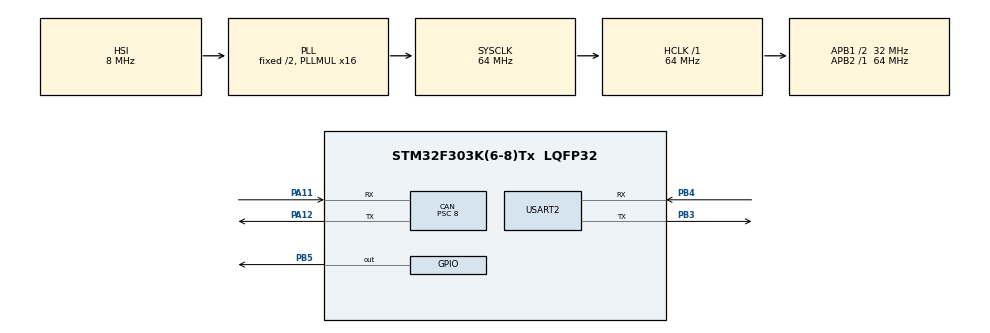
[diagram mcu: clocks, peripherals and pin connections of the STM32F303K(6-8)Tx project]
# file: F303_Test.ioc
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CAN.BS1=CAN_BS1_2TQ
CAN.CalculateBaudRate=1000000
CAN.CalculateTimeBit=1000
CAN.CalculateTimeQuantum=250.0
CAN.Prescaler=8
CAN.SJW=CAN_SJW_1TQ
Mcu.Family=STM32F3
Mcu.Name=STM32F303K(6-8)Tx
Mcu.Package=LQFP32
NVIC.CAN_RX0_IRQn=true\:0\:0\:false\:false\:true\:true\:true
NVIC.PriorityGroup=NVIC_PRIORITYGROUP_4
PA11.Mode=CAN_Activate
PA11.Signal=CAN_RX
PA12.Mode=CAN_Activate
PA12.Signal=CAN_TX
PB3.Mode=Asynchronous
PB3.Signal=USART2_TX
PB4.Mode=Asynchronous
PB4.Signal=USART2_RX
PB5.Signal=GPIO_Output
ProjectManager.HeapSize=0x200
ProjectManager.StackSize=0x400
ProjectManager.TargetToolchain=STM32CubeIDE
RCC.AHBFreq_Value=64000000
RCC.APB1CLKDivider=RCC_HCLK_DIV2
RCC.APB1Freq_Value=32000000
RCC.APB1TimFreq_Value=64000000
RCC.APB2Freq_Value=64000000
RCC.APB2TimFreq_Value=64000000
RCC.CortexFreq_Value=64000000
RCC.HCLKFreq_Value=64000000
RCC.HSE_VALUE=8000000
RCC.HSI_VALUE=8000000
RCC.PLLMUL=RCC_PLL_MUL16
RCC.SYSCLKFreq_VALUE=64000000
RCC.SYSCLKSourceVirtual=RCC_SYSCLKSOURCE_PLLCLK
USART2.VirtualMode-Asynchronous=VM_ASYNC
board=custom

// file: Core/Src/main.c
/* USER CODE BEGIN Header */
/**
  ******************************************************************************
  * @file           : main.c
  * @brief          : Main program body
  ******************************************************************************
  * @attention
  *
  * Copyright (c) 2022 STMicroelectronics.
  * All rights reserved.
  *
  * This software is licensed under terms that can be found in the LICENSE file
  * in the root directory of this software component.
  * If no LICENSE file comes with this software, it is provided AS-IS.
  *
  ******************************************************************************
  */
/* USER CODE END Header */
#include "main.h"

CAN_HandleTypeDef hcan;

UART_HandleTypeDef huart2;

void SystemClock_Config(void);
static void MX_GPIO_Init(void);
static void MX_CAN_Init(void);
static void MX_USART2_UART_Init(void);

int main(void)
{

  /* MCU Configuration--------------------------------------------------------*/

  /* Reset of all peripherals, Initializes the Flash interface and the Systick. */
  HAL_Init();

  /* Configure the system clock */
  SystemClock_Config();

  /* Initialize all configured peripherals */
  MX_GPIO_Init();
  MX_CAN_Init();
  MX_USART2_UART_Init();
  /* USER CODE BEGIN 2 */
  HAL_CAN_Start(&hcan);
  const unsigned char txbuf1[] = "Hello World!\r\n";

  uint32_t id;
  uint32_t dlc;
  uint8_t data[8];

  CAN_FilterTypeDef filter;
  filter.FilterIdHigh         = 0;                        // フィルターID(上位16ビット)
  filter.FilterIdLow          = 0;                        // フィルターID(下位16ビット)
  filter.FilterMaskIdHigh     = 0;                        // フィルターマスク(上位16ビット)
  filter.FilterMaskIdLow      = 0;                        // フィルターマスク(下位16ビット)
  filter.FilterScale          = CAN_FILTERSCALE_32BIT;    // フィルタースケール
  filter.FilterFIFOAssignment = CAN_FILTER_FIFO0;         // フィルターに割り当てるFIFO
  filter.FilterBank           = 0;                        // フィルターバンクNo
  filter.FilterMode           = CAN_FILTERMODE_IDMASK;    // フィルターモード
  filter.SlaveStartFilterBank = 14;                       // スレーブCANの開始フィルターバンクNo
  filter.FilterActivation     = ENABLE;                   // フィルター無効／有効
  HAL_CAN_ConfigFilter(&hcan, &filter);

  HAL_CAN_ActivateNotification(&hcan, CAN_IT_RX_FIFO0_MSG_PENDING);
  /* USER CODE END 2 */

  /* Infinite loop */
  /* USER CODE BEGIN WHILE */
  while (1)
  {
	  HAL_UART_Transmit(&huart2, (uint8_t *)txbuf1, sizeof(txbuf1), 0xFFFF);
	  HAL_GPIO_TogglePin(GPIOB, GPIO_PIN_5);

	  HAL_Delay(1000);
    /* USER CODE END WHILE */

  }
}

void SystemClock_Config(void)
{
  RCC_OscInitTypeDef RCC_OscInitStruct = {0};
  RCC_ClkInitTypeDef RCC_ClkInitStruct = {0};

  /** Initializes the RCC Oscillators according to the specified parameters
  * in the RCC_OscInitTypeDef structure.
  */
  RCC_OscInitStruct.OscillatorType = RCC_OSCILLATORTYPE_HSI;
  RCC_OscInitStruct.HSIState = RCC_HSI_ON;
  RCC_OscInitStruct.HSICalibrationValue = RCC_HSICALIBRATION_DEFAULT;
  RCC_OscInitStruct.PLL.PLLState = RCC_PLL_ON;
  RCC_OscInitStruct.PLL.PLLSource = RCC_PLLSOURCE_HSI;
  RCC_OscInitStruct.PLL.PLLMUL = RCC_PLL_MUL16;
  if (HAL_RCC_OscConfig(&RCC_OscInitStruct) != HAL_OK)
  {
    Error_Handler();
  }
  /** Initializes the CPU, AHB and APB buses clocks
  */
  RCC_ClkInitStruct.ClockType = RCC_CLOCKTYPE_HCLK|RCC_CLOCKTYPE_SYSCLK
                              |RCC_CLOCKTYPE_PCLK1|RCC_CLOCKTYPE_PCLK2;
  RCC_ClkInitStruct.SYSCLKSource = RCC_SYSCLKSOURCE_PLLCLK;
  RCC_ClkInitStruct.AHBCLKDivider = RCC_SYSCLK_DIV1;
  RCC_ClkInitStruct.APB1CLKDivider = RCC_HCLK_DIV2;
  RCC_ClkInitStruct.APB2CLKDivider = RCC_HCLK_DIV1;

  if (HAL_RCC_ClockConfig(&RCC_ClkInitStruct, FLASH_LATENCY_2) != HAL_OK)
  {
    Error_Handler();
  }
}

static void MX_CAN_Init(void)
{

  hcan.Instance = CAN;
  hcan.Init.Prescaler = 8;
  hcan.Init.Mode = CAN_MODE_NORMAL;
  hcan.Init.SyncJumpWidth = CAN_SJW_1TQ;
  hcan.Init.TimeSeg1 = CAN_BS1_2TQ;
  hcan.Init.TimeSeg2 = CAN_BS2_1TQ;
  hcan.Init.TimeTriggeredMode = DISABLE;
  hcan.Init.AutoBusOff = DISABLE;
  hcan.Init.AutoWakeUp = DISABLE;
  hcan.Init.AutoRetransmission = DISABLE;
  hcan.Init.ReceiveFifoLocked = DISABLE;
  hcan.Init.TransmitFifoPriority = DISABLE;
  if (HAL_CAN_Init(&hcan) != HAL_OK)
  {
    Error_Handler();
  }

}

static void MX_USART2_UART_Init(void)
{

  huart2.Instance = USART2;
  huart2.Init.BaudRate = 38400;
  huart2.Init.WordLength = UART_WORDLENGTH_8B;
  huart2.Init.StopBits = UART_STOPBITS_1;
  huart2.Init.Parity = UART_PARITY_NONE;
  huart2.Init.Mode = UART_MODE_TX_RX;
  huart2.Init.HwFlowCtl = UART_HWCONTROL_NONE;
  huart2.Init.OverSampling = UART_OVERSAMPLING_16;
  huart2.Init.OneBitSampling = UART_ONE_BIT_SAMPLE_DISABLE;
  huart2.AdvancedInit.AdvFeatureInit = UART_ADVFEATURE_NO_INIT;
  if (HAL_UART_Init(&huart2) != HAL_OK)
  {
    Error_Handler();
  }

}

static void MX_GPIO_Init(void)
{
  GPIO_InitTypeDef GPIO_InitStruct = {0};

  /* GPIO Ports Clock Enable */
  __HAL_RCC_GPIOA_CLK_ENABLE();
  __HAL_RCC_GPIOB_CLK_ENABLE();

  /*Configure GPIO pin Output Level */
  HAL_GPIO_WritePin(GPIOB, GPIO_PIN_5, GPIO_PIN_RESET);

  /*Configure GPIO pin : PB5 */
  GPIO_InitStruct.Pin = GPIO_PIN_5;
  GPIO_InitStruct.Mode = GPIO_MODE_OUTPUT_PP;
  GPIO_InitStruct.Pull = GPIO_NOPULL;
  GPIO_InitStruct.Speed = GPIO_SPEED_FREQ_LOW;
  HAL_GPIO_Init(GPIOB, &GPIO_InitStruct);

}

/* USER CODE BEGIN 4 */
void HAL_CAN_RxFifo0MsgPendingCallback(CAN_HandleTypeDef *hcan)
{
    CAN_RxHeaderTypeDef rxHeader;
    uint8_t rxData[8];
    if (HAL_CAN_GetRxMessage(hcan, CAN_RX_FIFO0, &rxHeader, rxData) == HAL_OK)
    {
    	HAL_UART_Transmit(&huart2, (uint8_t *)rxData, sizeof(rxData), 0xFFFF);
    }else{
    	HAL_UART_Transmit(&huart2, (uint8_t *)"HAL_NG!\r\n", sizeof("HAL_NG!\r\n"), 0xFFFF);
    }
}
/* USER CODE END 4 */

void Error_Handler(void)
{
  __disable_irq();
  while (1)
  {
  }
}
